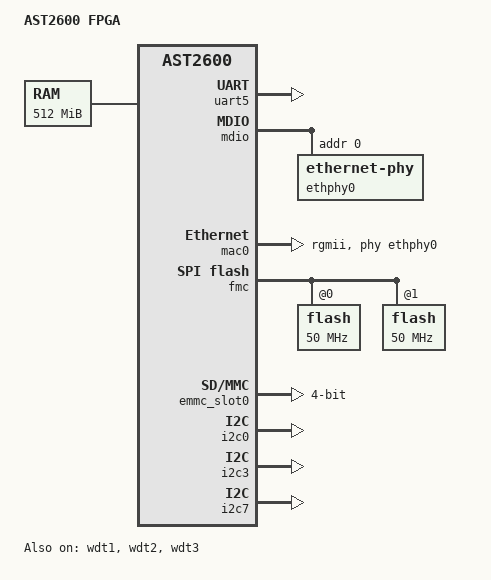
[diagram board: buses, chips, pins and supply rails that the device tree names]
/dts-v1/;

#include "ast2600-u-boot.dtsi"

/ {
        model = "AST2600 FPGA";
        compatible = "aspeed,ast2600-fpga", "aspeed,ast2600";

	memory {
		device_type = "memory";
		reg = <0x80000000 0x20000000>;
	};

	chosen {
		stdout-path = &uart5;
	};

	aliases {
		spi0 = &fmc;
		ethernet0 = &mac0;
	};

	cpus {
		cpu@0 {
			clock-frequency = <50000000>;
		};
		cpu@1 {
			clock-frequency = <50000000>;
		};
	};
};

&uart5 {
	u-boot,dm-pre-reloc;
	status = "okay";
};

&sdrammc {
	clock-frequency = <400000000>;
};

&wdt1 {
	u-boot,dm-pre-reloc;
	status = "okay";
};

&wdt2 {
	u-boot,dm-pre-reloc;
	status = "okay";
};

&wdt3 {
	u-boot,dm-pre-reloc;
	status = "okay";
};

&mdio {
	status = "okay";
	pinctrl-names = "default";
	pinctrl-0 = <&pinctrl_mdio1_default>;
	#address-cells = <1>;
	#size-cells = <0>;
	ethphy0: ethernet-phy@0 {
		reg = <0>;
	};	
};

&mac0 {
	status = "okay";
	phy-mode = "rgmii";
	phy-handle = <&ethphy0>;
	pinctrl-names = "default";
	pinctrl-0 = <&pinctrl_rgmii1_default>;
};

&fmc {
	status = "okay";
	flash@0 {
		status = "okay";
		spi-max-frequency = <50000000>;
		spi-tx-bus-width = <2>;
		spi-rx-bus-width = <2>;
	};

	flash@1 {
                status = "okay";
                spi-max-frequency = <50000000>;
                spi-tx-bus-width = <2>;
                spi-rx-bus-width = <2>;
        };
};

&emmc_slot0 {
	status = "okay";
	bus-width = <4>;
	pinctrl-names = "default";
	pinctrl-0 = <&pinctrl_emmc_default>;
};

&i2c0 {
        status = "okay";
};

&i2c3 {
        status = "okay";

};

&i2c7 {
        status = "okay";

};
